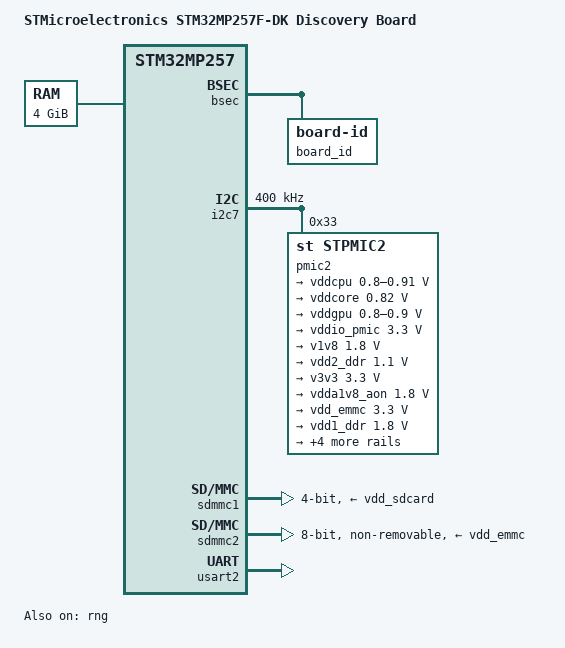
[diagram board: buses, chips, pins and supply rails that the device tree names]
// SPDX-License-Identifier: (GPL-2.0+ OR BSD-3-Clause)
/*
 * Copyright (C) STMicroelectronics 2025 - All Rights Reserved
 * Author: Alexandre Torgue <alexandre.torgue@foss.st.com> for STMicroelectronics.
 */

/dts-v1/;

#include <dt-bindings/clock/stm32mp25-clksrc.h>
#include "stm32mp257.dtsi"
#include "stm32mp25xf.dtsi"
#include "stm32mp257f-dk-ca35tdcid-rcc.dtsi"
#include "stm32mp25-lpddr4-1x32Gbits-1x32bits-1200MHz.dtsi"
#include "stm32mp25-pinctrl.dtsi"
#include "stm32mp25xxal-pinctrl.dtsi"

/ {
	model = "STMicroelectronics STM32MP257F-DK Discovery Board";
	compatible = "st,stm32mp257f-dk", "st,stm32mp257";

	aliases {
		serial0 = &usart2;
	};

	chosen {
		stdout-path = "serial0:115200n8";
	};

	memory@80000000 {
		device_type = "memory";
		reg = <0x0 0x80000000 0x1 0x00000000>;
	};

	shadow-prov {
		compatible = "st,provisioning";

		hconf1_prov {
			nvmem-cells = <&hconf1_otp>;
			st,shadow-value = <0x00018000>;
		};
	};
};

&bsec {
	board_id: board-id@3d8 {
		reg = <0x3d8 0x4>;
	};
};

&ddr {
	vdd1-supply = <&vdd1_ddr>;
	vdd2-supply = <&vdd2_ddr>;
	vddq-supply = <&vdd2_ddr>;
};

&i2c7 {
	pinctrl-names = "default";
	pinctrl-0 = <&i2c7_pins_a>;
	i2c-scl-rising-time-ns = <185>;
	i2c-scl-falling-time-ns = <20>;
	clock-frequency = <400000>;
	status = "okay";
	#address-cells = <1>;
	#size-cells = <0>;

	pmic2: stpmic@33 {
		compatible = "st,stpmic2";
		reg = <0x33>;
		status = "okay";

		regulators {
			compatible = "st,stpmic2-regulators";

			vddcpu: buck1 {
				regulator-name = "vddcpu";
				regulator-min-microvolt = <800000>;
				regulator-max-microvolt = <910000>;
				regulator-always-on;
			};
			vddcore: buck2 {
				regulator-name = "vddcore";
				regulator-min-microvolt = <820000>;
				regulator-max-microvolt = <820000>;
				regulator-always-on;
			};
			vddgpu: buck3 {
				regulator-name = "vddgpu";
				regulator-min-microvolt = <800000>;
				regulator-max-microvolt = <900000>;
				regulator-always-on;
			};
			vddio_pmic: buck4 {
				regulator-name = "vddio_pmic";
				regulator-min-microvolt = <3300000>;
				regulator-max-microvolt = <3300000>;
				regulator-always-on;
			};
			v1v8: buck5 {
				regulator-name = "v1v8";
				regulator-min-microvolt = <1800000>;
				regulator-max-microvolt = <1800000>;
				regulator-always-on;
			};
			vdd2_ddr: buck6 {
				regulator-name = "vdd2_ddr";
				regulator-min-microvolt = <1100000>;
				regulator-max-microvolt = <1100000>;
			};
			v3v3: buck7 {
				regulator-name = "v3v3";
				regulator-min-microvolt = <3300000>;
				regulator-max-microvolt = <3300000>;
				regulator-always-on;
			};
			vdda1v8_aon: ldo1 {
				regulator-name = "vdda1v8_aon";
				regulator-min-microvolt = <1800000>;
				regulator-max-microvolt = <1800000>;
				regulator-always-on;
			};
			vdd_emmc: ldo2 {
				regulator-name = "vdd_emmc";
				regulator-min-microvolt = <3300000>;
				regulator-max-microvolt = <3300000>;
				regulator-always-on;
			};
			vdd1_ddr: ldo3 {
				regulator-name = "vdd1_ddr";
				regulator-min-microvolt = <1800000>;
				regulator-max-microvolt = <1800000>;
				regulator-enable-ramp-delay = <1000>;
			};
			vdd3v3_usb: ldo4 {
				regulator-name = "vdd3v3_usb";
				regulator-min-microvolt = <3300000>;
				regulator-max-microvolt = <3300000>;
				regulator-always-on;
			};
			v5v_hdmi: ldo5 {
				regulator-name = "v5v_hdmi";
				regulator-min-microvolt = <2000000>;
				regulator-max-microvolt = <2000000>;
			};
			vdd_sdcard: ldo7 {
				regulator-name = "vdd_sdcard";
				regulator-min-microvolt = <3300000>;
				regulator-max-microvolt = <3300000>;
				regulator-always-on;
			};
			vddio_sdcard: ldo8 {
				regulator-name = "vddio_sdcard";
				st,regulator-bypass-microvolt = <3300000>;
				regulator-min-microvolt = <1800000>;
				regulator-max-microvolt = <3300000>;
				regulator-always-on;
			};
		};
	};
};

&pwr {
	vddio1: vddio1 {
		vddio1-supply = <&vddio_sdcard>;
	};
	vddio2: vddio2 {
		vddio2-supply = <&v1v8>;
	};
	vddio3: vddio3 {
		vddio3-supply = <&vddio_pmic>;
	};
	vddio4: vddio4 {
		vddio4-supply = <&vddio_pmic>;
	};
	vddio: vddio {
		vdd-supply = <&vddio_pmic>;
	};
};

&rng {
	status = "okay";
};

&sdmmc1 {
	pinctrl-names = "default";
	pinctrl-0 = <&sdmmc1_b4_pins_b>;
	st,neg-edge;
	bus-width = <4>;
	vmmc-supply = <&vdd_sdcard>;
	vqmmc-supply = <&vddio1>;
	status = "okay";
};

&sdmmc2 {
	pinctrl-names = "default";
	pinctrl-0 = <&sdmmc2_b4_pins_a &sdmmc2_d47_pins_a>;
	non-removable;
	no-sd;
	no-sdio;
	st,neg-edge;
	bus-width = <8>;
	vmmc-supply = <&vdd_emmc>;
	vqmmc-supply = <&vddio2>;
	status = "okay";
};

&usart2 {
	pinctrl-names = "default";
	pinctrl-0 = <&usart2_pins_a>;
	status = "okay";
};
